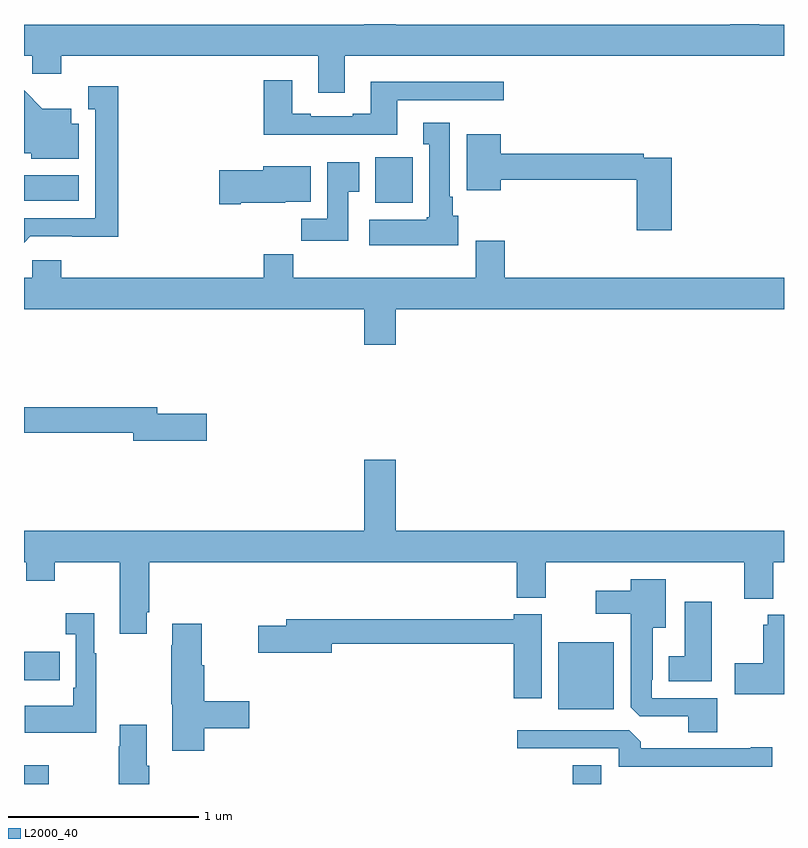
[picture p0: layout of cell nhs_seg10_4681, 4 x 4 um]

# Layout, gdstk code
import gdstk
lib = gdstk.Library(unit=1e-6, precision=1e-09)
def R(c, l, rs):  # rectangles x0, y0, x1, y1
    for r in rs: c.add(gdstk.rectangle(r[:2], r[2:], *l))
def P(c, l, *ps):  # polygons
    for p in ps: c.add(gdstk.Polygon(p, *l))
L2000_40 = (2000, 40)

nhs_seg10_4681 = lib.new_cell('nhs_seg10_4681')
R(nhs_seg10_4681, L2000_40, [(379,1280.5,379.131,1280.599), (381.887,1280.5,382.039,1280.599), (381.812,1280.894,382.105,1281.247), (379,1281.047,379.187,1281.195), (380.849,1283.558,381.046,1283.8), (379,1283.57,379.288,1283.704)])
P(nhs_seg10_4681, L2000_40, [(380.689,1284.332),(383,1284.332),(383,1284.496),(382.87,1284.496),(382.87,1284.5),(382.718,1284.5),(382.718,1284.496),(380.956,1284.496),(380.956,1284.5),(380.792,1284.5),(380.792,1284.496),(379,1284.496),(379,1284.332),(379.044,1284.332),(379.044,1284.237),(379.196,1284.237),(379.196,1284.332),(380.549,1284.332),(380.549,1284.138),(380.689,1284.138)],
  [(380.965,1284.099),(381.526,1284.099),(381.526,1284.196),(380.825,1284.196),(380.825,1284.028),(380.729,1284.028),(380.729,1284.015),(380.509,1284.015),(380.509,1284.028),(380.413,1284.028),(380.413,1284.205),(380.261,1284.205),(380.261,1283.918),(380.965,1283.918)],
  [(379.032,1283.382),(379.254,1283.382),(379.254,1283.381),(379.495,1283.381),(379.495,1284.172),(379.337,1284.172),(379.337,1284.051),(379.376,1284.051),(379.376,1283.478),(379,1283.478),(379,1283.35)],
  [(379.288,1283.976),(379.249,1283.976),(379.249,1284.055),(379.097,1284.055),(379,1284.151),(379,1283.819),(379.038,1283.819),(379.038,1283.792),(379.288,1283.792)],
  [(381.286,1283.49),(381.256,1283.49),(381.256,1283.59),(381.241,1283.59),(381.241,1283.98),(381.101,1283.98),(381.101,1283.867),(381.134,1283.867),(381.134,1283.484),(381.121,1283.484),(381.121,1283.47),(380.817,1283.47),(380.817,1283.336),(381.286,1283.336)],
  [(382.409,1283.796),(382.262,1283.796),(382.262,1283.816),(381.508,1283.816),(381.508,1283.92),(381.329,1283.92),(381.329,1283.624),(381.508,1283.624),(381.508,1283.68),(382.226,1283.68),(382.226,1283.415),(382.409,1283.415)],
  [(380.707,1283.617),(380.764,1283.617),(380.764,1283.773),(380.597,1283.773),(380.597,1283.476),(380.458,1283.476),(380.458,1283.358),(380.707,1283.358)],
  [(380.14,1283.558),(380.376,1283.558),(380.376,1283.564),(380.509,1283.564),(380.509,1283.752),(380.258,1283.752),(380.258,1283.729),(380.028,1283.729),(380.028,1283.551),(380.14,1283.551)],
  [(380.956,1283),(383,1283),(383,1283.164),(381.53,1283.164),(381.53,1283.359),(381.377,1283.359),(381.377,1283.164),(380.417,1283.164),(380.417,1283.288),(380.261,1283.288),(380.261,1283.164),(379.196,1283.164),(379.196,1283.257),(379.044,1283.257),(379.044,1283.164),(379,1283.164),(379,1283),(380.792,1283),(380.792,1282.812),(380.956,1282.812)],
  [(379.963,1282.448),(379.702,1282.448),(379.702,1282.484),(379,1282.484),(379,1282.348),(379.574,1282.348),(379.574,1282.306),(379.963,1282.306)],
  [(380.956,1282.207),(380.792,1282.207),(380.792,1281.832),(379,1281.832),(379,1281.668),(379.013,1281.668),(379.013,1281.569),(379.161,1281.569),(379.161,1281.668),(379.505,1281.668),(379.505,1281.291),(379.645,1281.291),(379.645,1281.403),(379.658,1281.403),(379.658,1281.668),(381.593,1281.668),(381.593,1281.479),(381.745,1281.479),(381.745,1281.668),(382.79,1281.668),(382.79,1281.476),(382.943,1281.476),(382.943,1281.668),(383,1281.668),(383,1281.832),(380.956,1281.832)],
  [(382.649,1280.952),(382.305,1280.952),(382.305,1281.049),(382.309,1281.049),(382.309,1281.323),(382.378,1281.323),(382.378,1281.577),(382.193,1281.577),(382.193,1281.517),(382.008,1281.517),(382.008,1281.395),(382.193,1281.395),(382.193,1280.905),(382.242,1280.856),(382.496,1280.856),(382.496,1280.773),(382.649,1280.773)],
  [(382.621,1281.46),(382.478,1281.46),(382.478,1281.172),(382.394,1281.172),(382.394,1281.041),(382.621,1281.041)],
  [(379.381,1281.187),(379.369,1281.187),(379.369,1281.4),(379.221,1281.4),(379.221,1281.287),(379.272,1281.287),(379.272,1281.007),(379.26,1281.007),(379.26,1280.911),(379.003,1280.911),(379.003,1280.771),(379.381,1280.771)],
  [(381.724,1281.394),(381.578,1281.394),(381.578,1281.367),(380.381,1281.367),(380.381,1281.333),(380.232,1281.333),(380.232,1281.191),(380.62,1281.191),(380.62,1281.238),(381.578,1281.238),(381.578,1280.952),(381.724,1280.952)],
  [(383,1281.391),(382.915,1281.391),(382.915,1281.337),(382.892,1281.337),(382.892,1281.135),(382.74,1281.135),(382.74,1280.972),(383,1280.972)],
  [(379.949,1280.794),(380.185,1280.794),(380.185,1280.936),(379.949,1280.936),(379.949,1281.125),(379.936,1281.125),(379.936,1281.343),(379.781,1281.343),(379.781,1281.23),(379.774,1281.23),(379.774,1280.919),(379.781,1280.919),(379.781,1280.676),(379.949,1280.676)],
  [(379.658,1280.596),(379.645,1280.596),(379.645,1280.812),(379.505,1280.812),(379.505,1280.699),(379.498,1280.699),(379.498,1280.5),(379.658,1280.5)],
  [(382.939,1280.693),(382.826,1280.693),(382.826,1280.688),(382.247,1280.688),(382.247,1280.722),(382.185,1280.784),(381.597,1280.784),(381.597,1280.688),(382.131,1280.688),(382.131,1280.592),(382.939,1280.592)])

lib.write_gds('nhs_seg10_4681.gds')
